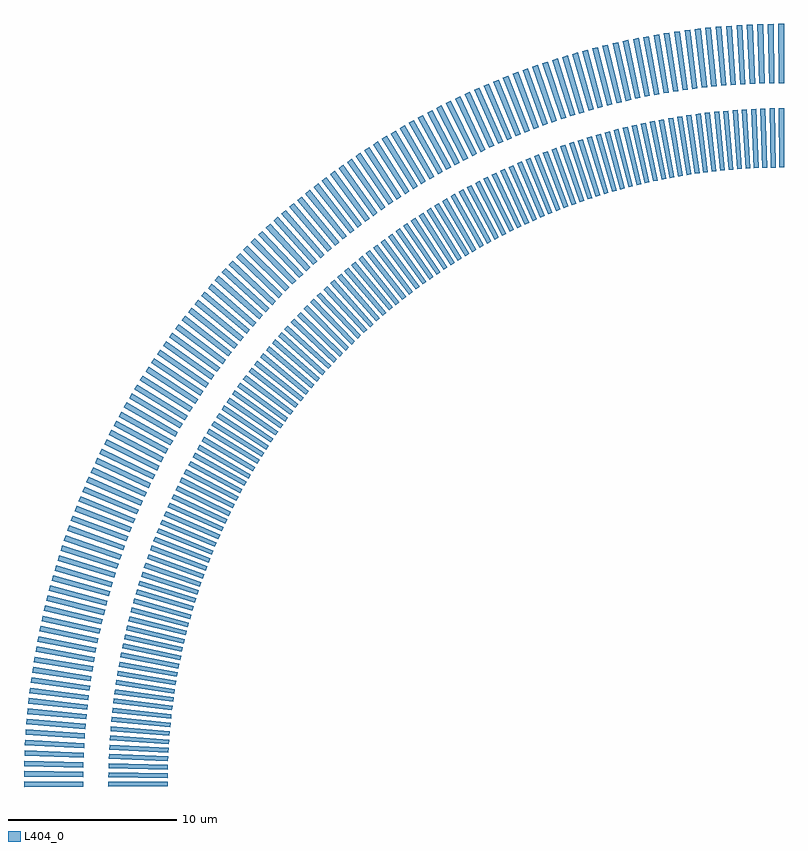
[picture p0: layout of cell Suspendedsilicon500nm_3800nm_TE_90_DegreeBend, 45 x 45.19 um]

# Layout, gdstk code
import gdstk
lib = gdstk.Library(unit=1e-6, precision=1e-09)
def P(c, l, *ps):  # polygons
    for p in ps: c.add(gdstk.Polygon(p, *l))
L404_0 = (404, 0)

suspendedsilicon500nm_38 = lib.new_cell('Suspendedsilicon500nm_3800nm_TE_90_DegreeBend')
P(suspendedsilicon500nm_38, L404_0, [(14.611,20.408),(11.695,22.344),(11.863,22.596),(14.764,20.633)],
  [(8.95,20.748),(5.909,22.482),(6.078,22.775),(9.105,21.018)],
  [(14.891,20.823),(12.004,22.801),(12.174,23.048),(15.048,21.049)],
  [(9.236,21.242),(6.22,23.019),(6.392,23.308),(9.395,21.51)],
  [(15.177,21.234),(12.318,23.253),(12.492,23.497),(15.336,21.458)],
  [(9.53,21.732),(6.537,23.548),(6.712,23.836),(9.691,21.996)],
  [(15.47,21.643),(12.638,23.7),(12.815,23.943),(15.631,21.865)],
  [(9.828,22.217),(6.862,24.075),(7.041,24.36),(9.994,22.481)],
  [(15.768,22.047),(12.964,24.143),(13.145,24.382),(15.932,22.265)],
  [(16.071,22.447),(13.297,24.582),(13.481,24.818),(16.239,22.663)],
  [(22.405,28.855),(20.238,31.604),(20.475,31.789),(22.621,29.024)],
  [(22.801,29.163),(20.674,31.943),(20.911,32.123),(23.019,29.329)],
  [(23.202,29.466),(21.112,32.273),(21.354,32.452),(23.423,29.63)],
  [(23.606,29.763),(21.555,32.599),(21.799,32.774),(23.829,29.922)],
  [(24.014,30.053),(22.003,32.918),(22.249,33.089),(24.241,30.21)],
  [(24.428,30.34),(22.454,33.231),(22.703,33.4),(24.653,30.494)],
  [(22.56,35.101),(20.67,38.046),(20.953,38.226),(22.823,35.268)],
  [(23.043,35.405),(21.191,38.376),(21.478,38.553),(23.308,35.569)],
  [(23.529,35.704),(21.719,38.699),(22.008,38.873),(23.796,35.864)],
  [(24.019,35.995),(22.249,39.015),(22.542,39.185),(24.289,36.152)],
  [(26.546,31.681),(24.778,34.702),(25.037,34.852),(26.784,31.819)],
  [(26.983,31.932),(25.254,34.976),(25.517,35.125),(27.222,32.068)],
  [(27.42,32.178),(25.734,35.245),(25.998,35.387),(27.66,32.308)],
  [(27.862,32.417),(26.218,35.506),(26.484,35.646),(28.104,32.544)],
  [(28.307,32.649),(26.706,35.761),(26.972,35.897),(28.55,32.773)],
  [(28.754,32.875),(27.197,36.009),(27.466,36.142),(29,32.996)],
  [(29.206,33.094),(27.69,36.251),(27.963,36.381),(29.454,33.212)],
  [(29.659,33.31),(28.189,36.485),(28.46,36.609),(29.907,33.425)],
  [(30.116,33.517),(28.69,36.714),(28.963,36.834),(30.367,33.628)],
  [(30.577,33.718),(29.193,36.935),(29.469,37.052),(30.828,33.825)],
  [(31.038,33.914),(29.699,37.148),(29.977,37.261),(31.292,34.019)],
  [(31.503,34.103),(30.21,37.356),(30.488,37.464),(31.758,34.203)],
  [(31.971,34.285),(30.721,37.554),(31.002,37.66),(32.227,34.382)],
  [(32.441,34.461),(31.237,37.747),(31.519,37.849),(32.698,34.554)],
  [(32.914,34.629),(31.753,37.933),(32.038,38.031),(33.171,34.719)],
  [(33.388,34.793),(32.274,38.111),(32.558,38.206),(33.647,34.879)],
  [(24.844,30.621),(22.911,33.537),(23.162,33.702),(25.072,30.77)],
  [(33.865,34.95),(32.797,38.283),(33.083,38.373),(34.126,35.032)],
  [(34.344,35.099),(33.321,38.446),(33.609,38.534),(34.605,35.179)],
  [(25.264,30.894),(23.373,33.839),(23.626,33.999),(25.495,31.041)],
  [(34.825,35.243),(33.85,38.604),(34.138,38.686),(35.088,35.318)],
  [(35.309,35.379),(34.377,38.754),(34.668,38.832),(35.572,35.451)],
  [(25.688,31.163),(23.837,34.132),(24.092,34.29),(25.921,31.307)],
  [(35.792,35.509),(34.91,38.896),(35.199,38.971),(36.057,35.578)],
  [(36.278,35.632),(35.444,39.032),(35.734,39.102),(36.545,35.697)],
  [(26.116,31.425),(24.305,34.42),(24.563,34.575),(26.351,31.566)],
  [(36.767,35.749),(35.978,39.159),(36.271,39.225),(37.035,35.811)],
  [(37.256,35.86),(36.513,39.28),(36.807,39.343),(37.524,35.916)],
  [(37.749,35.962),(37.054,39.391),(37.347,39.45),(38.017,36.014)],
  [(24.514,36.281),(22.786,39.325),(23.081,39.491),(24.786,36.435)],
  [(38.241,36.058),(37.592,39.498),(37.887,39.552),(38.511,36.108)],
  [(38.733,36.149),(38.134,39.597),(38.43,39.646),(39.004,36.194)],
  [(39.229,36.231),(38.676,39.687),(38.972,39.733),(39.5,36.273)],
  [(25.012,36.56),(23.326,39.627),(23.623,39.787),(25.285,36.708)],
  [(39.724,36.305),(39.219,39.771),(39.517,39.813),(39.996,36.344)],
  [(40.223,36.376),(39.765,39.845),(40.062,39.884),(40.494,36.41)],
  [(40.721,36.438),(40.31,39.914),(40.608,39.948),(40.993,36.469)],
  [(41.22,36.494),(40.858,39.973),(41.154,40.003),(41.491,36.522)],
  [(41.719,36.542),(41.404,40.028),(41.703,40.053),(41.992,36.565)],
  [(42.22,36.584),(41.951,40.073),(42.253,40.094),(42.491,36.604)],
  [(25.514,36.831),(23.871,39.921),(24.17,40.077),(25.79,36.976)],
  [(42.72,36.618),(42.501,40.111),(42.801,40.129),(42.993,36.634)],
  [(43.222,36.647),(43.049,40.142),(43.351,40.155),(43.493,36.659)],
  [(43.722,36.667),(43.6,40.165),(43.9,40.174),(43.996,36.676)],
  [(44.225,36.681),(44.15,40.18),(44.451,40.186),(44.497,36.686)],
  [(44.725,36.688),(44.7,40.188),(44.999,40.189),(44.999,36.689)],
  [(26.02,37.095),(24.419,40.208),(24.719,40.361),(26.297,37.237)],
  [(26.529,37.353),(24.971,40.487),(25.274,40.636),(26.808,37.49)],
  [(27.043,37.602),(25.526,40.758),(25.833,40.904),(27.324,37.736)],
  [(27.558,37.847),(26.088,41.021),(26.393,41.161),(27.84,37.977)],
  [(28.077,38.083),(26.651,41.278),(26.959,41.414),(28.362,38.208)],
  [(28.601,38.311),(27.217,41.525),(27.527,41.658),(28.886,38.432)],
  [(29.126,38.534),(27.787,41.766),(28.099,41.894),(29.415,38.653)],
  [(29.653,38.748),(28.361,41.999),(28.675,42.122),(29.944,38.862)],
  [(30.186,38.956),(28.937,42.224),(29.252,42.343),(30.477,39.066)],
  [(30.72,39.156),(29.516,42.441),(29.833,42.556),(31.013,39.262)],
  [(31.259,39.349),(30.098,42.65),(30.416,42.761),(31.551,39.449)],
  [(31.797,39.534),(30.684,42.851),(31.003,42.957),(32.092,39.631)],
  [(32.339,39.711),(31.272,43.043),(31.594,43.145),(32.636,39.805)],
  [(32.885,39.883),(31.861,43.227),(32.185,43.326),(33.183,39.971)],
  [(33.431,40.044),(32.456,43.405),(32.78,43.498),(33.73,40.13)],
  [(33.981,40.2),(33.05,43.573),(33.376,43.662),(34.28,40.281)],
  [(34.531,40.348),(33.648,43.733),(33.974,43.817),(34.832,40.426)],
  [(35.084,40.488),(34.249,43.886),(34.576,43.965),(35.387,40.561)],
  [(35.639,40.62),(34.85,44.029),(35.18,44.104),(35.944,40.69)],
  [(36.195,40.745),(35.453,44.165),(35.783,44.236),(36.5,40.809)],
  [(36.756,40.863),(36.06,44.29),(36.39,44.356),(37.06,40.924)],
  [(37.315,40.971),(36.667,44.41),(36.998,44.471),(37.622,41.027)],
  [(37.876,41.074),(37.275,44.522),(37.609,44.577),(38.183,41.125)],
  [(38.439,41.167),(37.886,44.623),(38.219,44.675),(38.746,41.215)],
  [(39.002,41.252),(38.496,44.717),(38.831,44.765),(39.31,41.296)],
  [(39.568,41.332),(39.11,44.801),(39.445,44.844),(39.877,41.371)],
  [(40.134,41.402),(39.724,44.878),(40.059,44.917),(40.444,41.438)],
  [(40.703,41.466),(40.34,44.946),(40.674,44.979),(41.01,41.497)],
  [(41.27,41.521),(40.955,45.006),(41.291,45.035),(41.58,41.547)],
  [(41.839,41.569),(41.571,45.058),(41.909,45.081),(42.148,41.591)],
  [(42.407,41.607),(42.189,45.101),(42.526,45.12),(42.718,41.626)],
  [(42.978,41.638),(42.806,45.134),(43.144,45.151),(43.287,41.654)],
  [(43.547,41.663),(43.425,45.161),(43.762,45.171),(43.858,41.673)],
  [(44.118,41.679),(44.043,45.177),(44.382,45.184),(44.428,41.685)],
  [(44.687,41.687),(44.662,45.187),(44.999,45.189),(44.999,41.689)],
  [(10.767,23.649),(7.879,25.628),(8.071,25.905),(10.944,23.906)],
  [(16.711,30.555),(14.327,33.115),(14.573,33.343),(16.939,30.766)],
  [(17.013,23.621),(14.331,25.869),(14.523,26.097),(17.19,23.83)],
  [(11.091,24.117),(8.233,26.136),(8.428,26.411),(11.273,24.371)],
  [(20.488,27.237),(18.139,29.829),(18.362,30.029),(20.692,27.419)],
  [(22.083,34.789),(20.15,37.705),(20.431,37.891),(22.342,34.959)],
  [(13.924,27.695),(11.304,30.014),(11.528,30.266),(14.131,27.928)],
  [(20.863,27.571),(18.55,30.196),(18.774,30.392),(21.068,27.751)],
  [(14.305,28.12),(11.718,30.476),(11.946,30.723),(14.516,28.349)],
  [(21.242,27.899),(18.965,30.557),(19.192,30.751),(21.451,28.077)],
  [(21.624,28.224),(19.384,30.913),(19.615,31.103),(21.836,28.398)],
  [(14.693,28.54),(12.136,30.93),(12.369,31.175),(14.905,28.765)],
  [(22.013,28.542),(19.809,31.261),(20.042,31.449),(22.226,28.714)],
  [(15.085,28.954),(12.563,31.379),(12.796,31.621),(15.3,29.177)],
  [(10.133,22.7),(7.195,24.598),(7.378,24.879),(10.303,22.96)],
  [(15.483,29.363),(12.995,31.822),(13.232,32.061),(15.702,29.583)],
  [(16.38,22.842),(13.635,25.013),(13.821,25.249),(16.549,23.055)],
  [(10.448,23.177),(7.532,25.114),(7.721,25.396),(10.622,23.434)],
  [(15.888,29.766),(13.432,32.259),(13.674,32.494),(16.109,29.982)],
  [(16.694,23.234),(13.979,25.443),(14.169,25.674),(16.867,23.445)],
  [(16.296,30.164),(13.877,32.69),(14.119,32.922),(16.521,30.378)],
  [(17.13,30.942),(14.781,33.534),(15.032,33.759),(17.362,31.149)],
  [(17.339,24.004),(14.687,26.286),(14.882,26.513),(17.516,24.209)],
  [(17.557,31.322),(15.244,33.946),(15.496,34.168),(17.79,31.527)],
  [(11.426,24.582),(8.593,26.638),(8.792,26.912),(11.608,24.832)],
  [(17.988,31.695),(15.71,34.353),(15.967,34.571),(18.225,31.897)],
  [(17.668,24.381),(15.048,26.7),(15.247,26.924),(17.85,24.586)],
  [(18.003,24.756),(15.416,27.111),(15.618,27.331),(18.188,24.957)],
  [(18.423,32.064),(16.182,34.753),(16.442,34.967),(18.663,32.262)],
  [(11.763,25.041),(8.96,27.137),(9.163,27.406),(11.95,25.29)],
  [(18.864,32.426),(16.661,35.144),(16.923,35.355),(19.107,32.621)],
  [(18.345,25.125),(15.789,27.514),(15.993,27.733),(18.53,25.322)],
  [(12.108,25.496),(9.334,27.631),(9.541,27.897),(12.299,25.742)],
  [(19.31,32.782),(17.143,35.531),(17.409,35.739),(19.555,32.974)],
  [(18.689,25.489),(16.167,27.914),(16.374,28.128),(18.878,25.685)],
  [(19.76,33.132),(17.633,35.912),(17.9,36.115),(20.008,33.321)],
  [(12.459,25.945),(9.716,28.117),(9.925,28.38),(12.652,26.188)],
  [(19.04,25.846),(16.549,28.309),(16.761,28.521),(19.234,26.04)],
  [(20.216,33.476),(18.126,36.284),(18.398,36.485),(20.467,33.662)],
  [(12.816,26.39),(10.102,28.6),(10.315,28.86),(13.014,26.631)],
  [(19.396,26.203),(16.939,28.696),(17.154,28.905),(19.589,26.392)],
  [(20.676,33.814),(18.624,36.65),(18.899,36.847),(20.929,33.995)],
  [(19.755,26.552),(17.335,29.079),(17.55,29.285),(19.952,26.741)],
  [(21.139,34.144),(19.127,37.01),(19.405,37.203),(21.396,34.323)],
  [(13.179,26.831),(10.497,29.078),(10.714,29.335),(13.38,27.068)],
  [(20.12,26.897),(17.735,29.457),(17.954,29.66),(20.32,27.082)],
  [(21.61,34.47),(19.636,37.361),(19.916,37.551),(21.866,34.646)],
  [(13.55,27.266),(10.896,29.549),(11.119,29.803),(13.752,27.5)],
  [(9.573,8.983),(6.177,9.825),(6.251,10.117),(9.64,9.247)],
  [(4.463,9.074),(1.043,9.824),(1.118,10.154),(4.531,9.378)],
  [(9.699,9.468),(6.314,10.358),(6.391,10.648),(9.769,9.733)],
  [(4.588,9.632),(1.18,10.428),(1.258,10.757),(4.66,9.935)],
  [(9.83,9.953),(6.457,10.889),(6.538,11.178),(9.904,10.216)],
  [(4.721,10.188),(1.326,11.03),(1.408,11.358),(4.797,10.487)],
  [(9.968,10.437),(6.609,11.418),(6.693,11.707),(10.046,10.697)],
  [(4.863,10.739),(1.478,11.629),(1.565,11.955),(4.943,11.04)],
  [(10.111,10.916),(6.766,11.945),(6.855,12.231),(10.193,11.178)],
  [(5.012,11.29),(1.639,12.227),(1.731,12.551),(5.096,11.59)],
  [(10.262,11.395),(6.932,12.469),(7.025,12.755),(10.347,11.655)],
  [(5.169,11.84),(1.808,12.822),(1.905,13.146),(5.258,12.136)],
  [(10.419,11.871),(7.105,12.991),(7.202,13.277),(10.507,12.131)],
  [(5.332,12.386),(1.987,13.414),(2.087,13.736),(5.425,12.683)],
  [(10.582,12.345),(7.283,13.512),(7.384,13.794),(10.675,12.604)],
  [(10.755,12.818),(7.47,14.029),(7.575,14.31),(10.849,13.074)],
  [(5.505,12.93),(2.174,14.003),(2.278,14.325),(5.6,13.226)],
  [(10.931,13.288),(7.664,14.544),(7.772,14.822),(11.03,13.543)],
  [(5.682,13.472),(2.368,14.591),(2.477,14.912),(5.782,13.767)],
  [(11.113,13.756),(7.864,15.057),(7.977,15.334),(11.217,14.009)],
  [(5.868,14.01),(2.569,15.177),(2.682,15.495),(5.974,14.304)],
  [(11.304,14.219),(8.073,15.565),(8.189,15.841),(11.41,14.473)],
  [(6.064,14.548),(2.779,15.759),(2.897,16.075),(6.171,14.839)],
  [(11.5,14.681),(8.287,16.071),(8.408,16.346),(11.609,14.932)],
  [(6.264,15.082),(2.997,16.338),(3.119,16.651),(6.376,15.372)],
  [(11.701,15.142),(8.509,16.574),(8.634,16.847),(11.814,15.389)],
  [(6.471,15.614),(3.222,16.915),(3.349,17.227),(6.589,15.902)],
  [(11.911,15.598),(8.737,17.074),(8.865,17.347),(12.027,15.846)],
  [(6.688,16.141),(3.457,17.487),(3.588,17.798),(6.808,16.429)],
  [(12.125,16.05),(8.974,17.571),(9.105,17.841),(12.246,16.297)],
  [(12.348,16.501),(9.216,18.064),(9.351,18.333),(12.47,16.745)],
  [(6.911,16.667),(3.698,18.056),(3.834,18.365),(7.035,16.952)],
  [(12.574,16.948),(9.465,18.555),(9.603,18.82),(12.701,17.191)],
  [(7.142,17.19),(3.949,18.621),(4.087,18.93),(7.268,17.471)],
  [(12.807,17.394),(9.722,19.043),(9.864,19.305),(12.937,17.635)],
  [(7.379,17.708),(4.204,19.185),(4.348,19.492),(7.512,17.99)],
  [(13.047,17.835),(9.983,19.525),(10.129,19.789),(13.182,18.072)],
  [(7.622,18.222),(4.47,19.744),(4.618,20.048),(7.759,18.503)],
  [(13.293,18.271),(10.253,20.005),(10.402,20.265),(13.43,18.509)],
  [(7.875,18.736),(4.743,20.3),(4.896,20.601),(8.014,19.013)],
  [(13.544,18.706),(10.529,20.482),(10.682,20.739),(13.684,18.941)],
  [(8.133,19.244),(5.023,20.851),(5.178,21.149),(8.277,19.52)],
  [(13.803,19.136),(10.811,20.953),(10.966,21.209),(13.945,19.369)],
  [(14.066,19.564),(11.099,21.421),(11.259,21.674),(14.212,19.795)],
  [(8.397,19.75),(5.312,21.4),(5.472,21.695),(8.545,20.024)],
  [(14.334,19.988),(11.396,21.886),(11.558,22.136),(14.483,20.216)],
  [(8.671,20.252),(5.606,21.942),(5.77,22.238),(8.823,20.522)],
  [(5,0.021),(5,0.321),(8.5,0.309),(8.5,0.036)],
  [(0,0),(0,0.337),(3.5,0.326),(3.5,0.015)],
  [(8.5,0.538),(5.002,0.57),(5.005,0.871),(8.506,0.81)],
  [(3.5,0.586),(0.003,0.618),(0.006,0.956),(3.507,0.895)],
  [(8.509,1.039),(5.01,1.121),(5.018,1.421),(8.517,1.313)],
  [(3.511,1.156),(0.012,1.237),(0.021,1.575),(3.519,1.467)],
  [(8.526,1.542),(5.028,1.67),(5.039,1.971),(8.535,1.813)],
  [(3.529,1.727),(0.031,1.855),(0.044,2.194),(3.54,2.036)],
  [(8.547,2.042),(5.051,2.22),(5.067,2.52),(8.561,2.316)],
  [(3.553,2.296),(0.058,2.474),(0.076,2.811),(3.57,2.607)],
  [(8.574,2.544),(5.083,2.769),(5.103,3.067),(8.593,2.815)],
  [(3.586,2.866),(0.094,3.091),(0.116,3.427),(3.606,3.175)],
  [(8.611,3.043),(5.122,3.318),(5.147,3.617),(8.634,3.317)],
  [(3.627,3.434),(0.137,3.709),(0.165,4.045),(3.652,3.745)],
  [(8.655,3.544),(5.169,3.866),(5.197,4.163),(8.68,3.816)],
  [(3.674,4.004),(0.19,4.325),(0.222,4.66),(3.704,4.312)],
  [(8.704,4.042),(5.223,4.413),(5.256,4.711),(8.732,4.316)],
  [(8.76,4.541),(5.285,4.959),(5.322,5.257),(8.794,4.814)],
  [(3.731,4.572),(0.251,4.941),(0.288,5.276),(3.766,4.881)],
  [(8.824,5.04),(5.354,5.505),(5.395,5.803),(8.862,5.312)],
  [(3.796,5.137),(0.321,5.555),(0.362,5.891),(3.834,5.447)],
  [(8.893,5.536),(5.431,6.051),(5.476,6.346),(8.934,5.808)],
  [(3.868,5.704),(0.399,6.17),(0.445,6.505),(3.91,6.014)],
  [(8.97,6.033),(5.515,6.593),(5.564,6.888),(9.015,6.304)],
  [(3.947,6.268),(0.485,6.783),(0.536,7.116),(3.994,6.577)],
  [(9.054,6.527),(5.607,7.137),(5.66,7.431),(9.103,6.797)],
  [(4.035,6.833),(0.58,7.394),(0.635,7.726),(4.086,7.141)],
  [(9.145,7.021),(5.706,7.676),(5.763,7.97),(9.197,7.29)],
  [(4.129,7.395),(0.683,8.005),(0.743,8.336),(4.185,7.702)],
  [(9.241,7.515),(5.814,8.217),(5.875,8.511),(9.297,7.782)],
  [(4.233,7.957),(0.795,8.612),(0.859,8.943),(4.292,8.263)],
  [(9.347,8.004),(5.926,8.753),(5.991,9.048),(9.407,8.271)],
  [(4.343,8.518),(0.916,9.22),(0.985,9.551),(4.406,8.822)],
  [(9.457,8.494),(6.049,9.291),(6.118,9.582),(9.52,8.761)])

lib.write_gds('Suspendedsilicon500nm_3800nm_TE_90_DegreeBend.gds')
